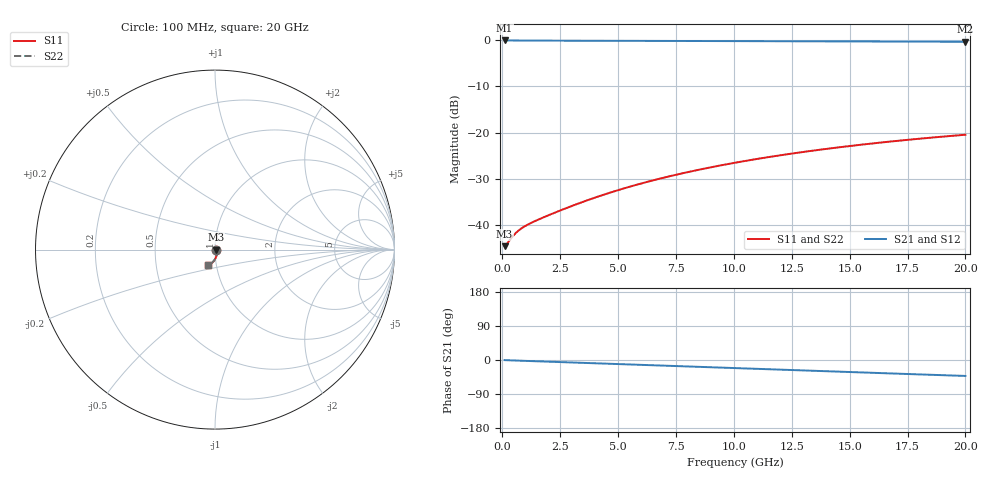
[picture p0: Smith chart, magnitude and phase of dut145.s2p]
! Touchstone file exported from HFSS 2026.1.0
!  File:  C:/ffzhzh/LocalFiles/Ansys_Project_Files/temp_train_TMRDL_145_1782983034_45328.aedt
!  Generated:  05:05:06 PM Jul  2, 2026
!  Design:  TMRDL
!  Project:  temp_train_TMRDL_145_1782983034_45328
! Variables:
!  h_bsmrdl = 2um
!  h_ox = 20um
!  h_rdl = 5um
!  h_sub = 80um
!  h_tmrdl = 2.95um
!  h_tsv = 80um
!  h_via = 3um
!  l_bsmrdl = 300um
!  l_sub = 1147.07um
!  l_tmrdl = 747.07um
!  m_sub = 200um
!  pitch = 17.9um
!  r_tsv = 6um
!  s_tmrdl = 10um
!  w_bsmrdl = 18um
!  w_sub = 500um
!  w_tmrdl = 15.71um
!  x_tsv_center1 = 754.925um
!  x_tsv_center2 = 1072.925um
!  x_tsv_center3 = 1835.705um
!  x_tsv_center4 = 2153.705um
!  x_tsv_center5 = 2916.485um
!  x_tsv_center6 = 3234.485um
# GHz S MA R 50.000000
! Terminal data exported
! Port[1] = TM_RDL1_1_T1
! Port[2] = TM_RDL1_1_T2
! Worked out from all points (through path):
!   200 points, 100 MHz to 20 GHz, reference 50 ohm
!   highest |S21| = -0.05 dB at 100 MHz (marker M1); lowest = -0.3 dB at 20 GHz (marker M2)
!   group delay of S21, straight-line fit = 5.82 ps
!   lowest |S11| = -44.6 dB at 100 MHz (marker M3), VSWR 1.01, Z = 50.6 + j0.0405 ohm
!   |S11| at or under -10 dB: start of sweep to end of sweep
!   |S22| runs from -44.6 to -20.5 dB; largest |S21 - S12| = 3.5e-15
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0.1  0.005899 3.9  0.9941 -0.3  0.9941 -0.3  0.005899 3.9
! Gamma 0 0 0 0
! Port Impedance 50 0 50 0
0.2  0.006261 6.4  0.9938 -0.5  0.9938 -0.5  0.00626 6.4
0.5  0.007795 4.4  0.9922 -1.2  0.9922 -1.2  0.007794 4.4
0.6  0.00827 1.9  0.9917 -1.5  0.9917 -1.5  0.008268 1.9
0.8  0.00909 -3.7  0.9909 -1.9  0.9909 -1.9  0.009087 -3.7
1  0.009782 -9.5  0.9903 -2.3  0.9903 -2.3  0.009776 -9.5
1.4  0.01099 -19.9  0.9895 -3.2  0.9895 -3.2  0.01098 -19.9
1.9  0.01246 -30.5  0.9888 -4.2  0.9888 -4.2  0.01244 -30.5
2.7  0.01502 -43.2  0.988 -5.9  0.988 -5.9  0.01498 -43.3
3.5  0.01787 -52.4  0.9872 -7.7  0.9872 -7.7  0.01782 -52.5
4.3  0.02096 -59.3  0.9863 -9.4  0.9863 -9.4  0.0209 -59.4
5.1  0.02425 -64.7  0.9854 -11.1  0.9854 -11.1  0.02417 -64.9
5.9  0.0277 -69.2  0.9843 -12.8  0.9843 -12.8  0.0276 -69.5
6.8  0.03173 -73.6  0.9831 -14.7  0.9831 -14.7  0.03161 -73.8
8.4  0.03921 -80.0  0.9807 -18.1  0.9807 -18.1  0.03904 -80.4
10.1  0.04744 -85.8  0.978 -21.6  0.978 -21.6  0.04721 -86.3
11.7  0.05532 -90.8  0.9754 -25.0  0.9754 -25.0  0.05503 -91.3
13.4  0.06372 -95.7  0.9726 -28.5  0.9726 -28.5  0.06337 -96.3
15  0.07157 -100.1  0.97 -31.8  0.97 -31.8  0.07114 -100.8
16.7  0.07974 -104.6  0.9672 -35.3  0.9672 -35.3  0.07924 -105.3
18.3  0.08722 -108.7  0.9647 -38.6  0.9647 -38.6  0.08665 -109.5
20  0.09486 -113.0  0.962 -42.1  0.962 -42.1  0.09421 -113.8
